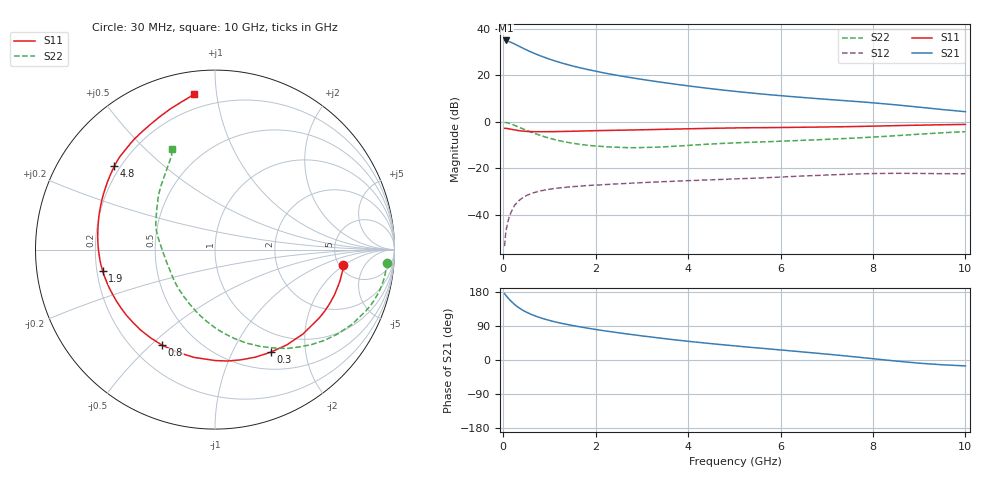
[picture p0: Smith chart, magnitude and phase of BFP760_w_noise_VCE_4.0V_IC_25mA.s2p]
! (c) 2012  Infineon Technologies AG, Munich
! Infineon Technologies  Discrete & RF Semiconductors
! BFP760
! VCE =  4.0 V,  IC =  25 mA
! Common Emitter S-Parameters:  Nov 2012
# GHz  S  MA  R  50
!  f  S11  S21  S12  S22
! GHz  MAG  ANG  MAG  ANG  MAG  ANG  MAG  ANG
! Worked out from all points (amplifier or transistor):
!   99 points, 30 MHz to 10 GHz, reference 50 ohm
!   highest |S21| = 34.9 dB at 50 MHz (marker M1)
!   |S21| within 3 dB of that: start of sweep to 393.6 MHz
!   unconditionally stable (mu >= 1): 4.415 GHz to end of sweep
!   at 350 MHz: K = 0.27, MSG = 33.1 dB, |S12| = -33.8 dB
!   at 3.5 GHz: K = 0.90, MSG = 21.3 dB, |S12| = -25.8 dB
!   at 10 GHz: K = 1.08, MAG = 11.7 dB, |S12| = -22.4 dB
!   lowest NFmin = 0.68 dB at 900 MHz
!   S11 on the Smith chart (normalised r, x): 30 MHz: 5.44, -1.96; 300 MHz: 0.72, -1.42; 800 MHz: 0.32, -0.54; 1.9 GHz: 0.22, -0.09; 4.8 GHz: 0.18, +0.35; 10 GHz: 0.12, +0.87
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0.03  0.7211 -6.9  55.8 174.9  0.0021 69.2  0.9611 -4.3
0.05  0.7187 -11.3  55.84 171.5  0.0037 91.1  0.9583 -7.1
0.1  0.7086 -22.8  54.05 164.3  0.007 72.6  0.9413 -15.0
0.15  0.6936 -33.6  51.79 157.6  0.0101 71.5  0.9081 -22.0
0.2  0.6795 -43.7  49.21 151.6  0.0132 67.8  0.8705 -28.5
0.25  0.6649 -52.9  46.64 146.1  0.0161 64.1  0.8306 -34.4
0.3  0.6505 -61.5  44.03 141.2  0.0182 60.1  0.792 -39.7
0.4  0.6307 -77.0  39.25 133.0  0.0223 55.2  0.7175 -49.1
0.5  0.6183 -89.8  35.11 126.4  0.0257 51.4  0.6531 -57.4
0.6  0.6119 -101.0  31.64 120.7  0.0283 47.8  0.5972 -64.7
0.8  0.6086 -118.9  26.16 111.7  0.0324 42.1  0.5083 -77.5
1  0.6103 -132.6  22.16 104.5  0.0352 38.0  0.4419 -88.8
1.2  0.6143 -143.5  19.13 98.5  0.0375 35.2  0.3934 -98.7
1.7  0.6297 -163.2  14.14 86.7  0.0413 31.2  0.321 -119.9
1.9  0.637 -169.3  12.78 82.6  0.0428 30.4  0.3053 -127.7
2.6  0.6574 173.7  9.414 70.1  0.0466 28.2  0.278 -151.2
3.4  0.6827 158.8  7.096 57.7  0.0509 26.8  0.2857 -173.8
4.8  0.728 140.4  4.735 39.7  0.0576 24.9  0.3424 162.2
5.1  0.7357 137.7  4.404 36.3  0.0592 24.6  0.3532 158.8
6.7  0.764 125.5  3.186 18.9  0.0692 21.5  0.4046 142.8
8.5  0.8226 107.6  2.3 -2.8  0.0776 11.9  0.4991 124.3
10  0.8732 97.8  1.64 -15.6  0.0759 7.6  0.6108 113.1
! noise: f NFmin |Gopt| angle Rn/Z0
0.9  0.68  0.13  -170  0.1
1.8  0.74  0.15  -159  0.07
2.4  0.78  0.16  -149  0.08
3.5  0.91  0.17  -140  0.09
5.5  1.12  0.26  -110  0.19
8  1.42  0.38  -78  0.37
